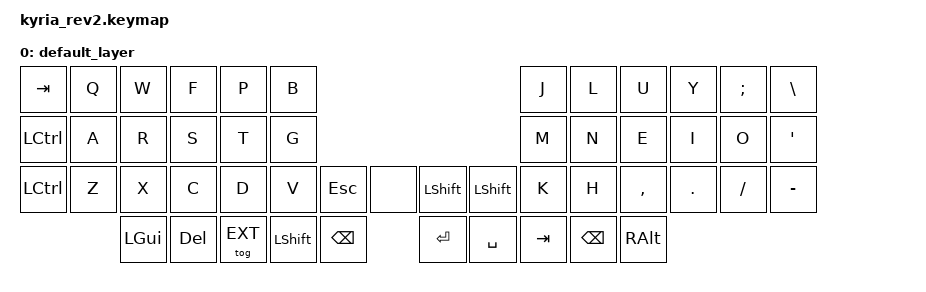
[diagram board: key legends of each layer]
/*
 * Copyright (c) 2020 The ZMK Contributors
 *
 * SPDX-License-Identifier: MIT
 */

#include <behaviors.dtsi>
#include <dt-bindings/zmk/keys.h>

/ {
	keymap {
		compatible = "zmk,keymap";

		default_layer {
			bindings = <
	&kp TAB   &kp Q &kp W &kp F &kp P &kp B                                                 &kp J &kp L  &kp U     &kp Y   &kp SEMI &kp BSLH
	&kp LCTRL &kp A &kp R &kp S &kp T &kp G                                                 &kp M &kp N  &kp E     &kp I   &kp O    &kp SQT
	&kp LCTRL &kp Z &kp X &kp C &kp D &kp V    &kp ESC   &none          &kp LSHFT &kp LSHFT &kp K &kp H  &kp COMMA &kp DOT &kp FSLH &kp MINUS
	                 &kp LGUI &kp DEL &tog EXT &kp LSHFT &kp BSPC       &kp RET  &kp SPACE  &kp TAB &kp BSPC &kp RALT
			>;
		};
	};
};
